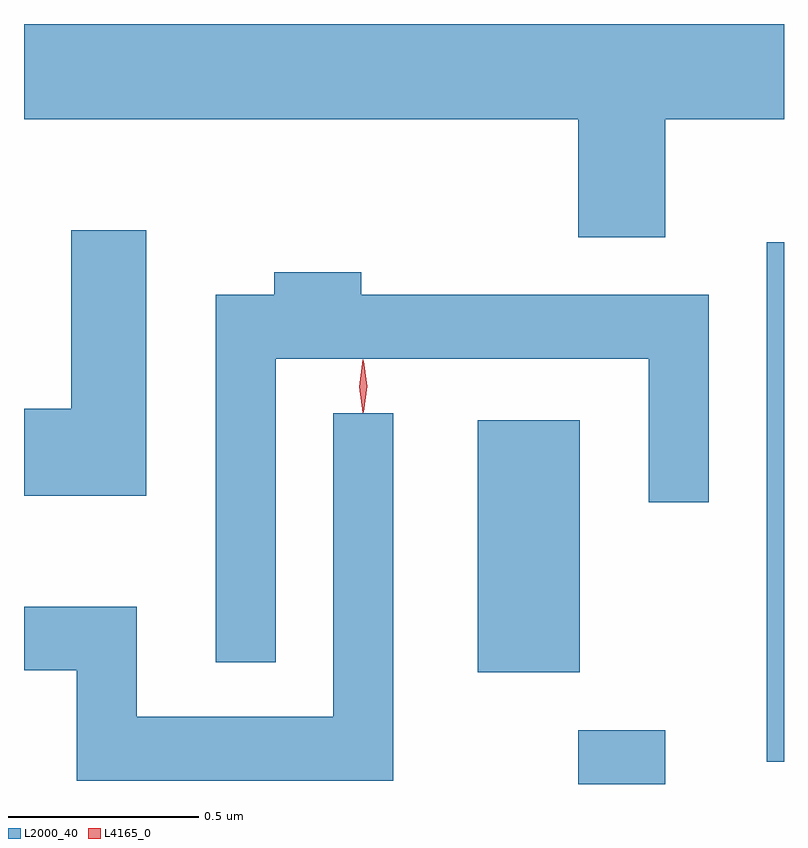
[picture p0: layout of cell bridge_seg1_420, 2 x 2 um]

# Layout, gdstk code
import gdstk
lib = gdstk.Library(unit=1e-6, precision=1e-09)
def R(c, l, rs):  # rectangles x0, y0, x1, y1
    for r in rs: c.add(gdstk.rectangle(r[:2], r[2:], *l))
def P(c, l, *ps):  # polygons
    for p in ps: c.add(gdstk.Polygon(p, *l))
L2000_40 = (2000, 40)
L4165_0 = (4165, 0)

bridge_seg1_420 = lib.new_cell('bridge_seg1_420')
R(bridge_seg1_420, L2000_40, [(577.011,942.227,577.239,942.369), (577.506,942.286,577.552,943.653), (576.746,942.521,577.014,943.184)])
P(bridge_seg1_420, L2000_40, [(577.239,943.976),(577.552,943.976),(577.552,944.227),(575.552,944.227),(575.552,943.976),(577.011,943.976),(577.011,943.666),(577.239,943.666)],
  [(575.874,943.684),(575.676,943.684),(575.676,943.214),(575.552,943.214),(575.552,942.986),(575.874,942.986)],
  [(576.214,943.346),(577.196,943.346),(577.196,942.968),(577.354,942.968),(577.354,943.514),(576.439,943.514),(576.439,943.574),(576.211,943.574),(576.211,943.514),(576.056,943.514),(576.056,942.548),(576.214,942.548)],
  [(576.524,943.203),(576.366,943.203),(576.366,942.404),(575.849,942.404),(575.849,942.694),(575.552,942.694),(575.552,942.526),(575.691,942.526),(575.691,942.236),(576.524,942.236)])
P(bridge_seg1_420, L4165_0, [(576.444,943.204),(576.444,943.204),(576.434,943.273),(576.444,943.343),(576.444,943.343),(576.445,943.343),(576.454,943.273),(576.445,943.204)],
  [(576.445,943.207),(576.445,943.207),(576.435,943.274),(576.445,943.34),(576.445,943.341),(576.446,943.34),(576.455,943.274),(576.446,943.207)])

lib.write_gds('bridge_seg1_420.gds')
